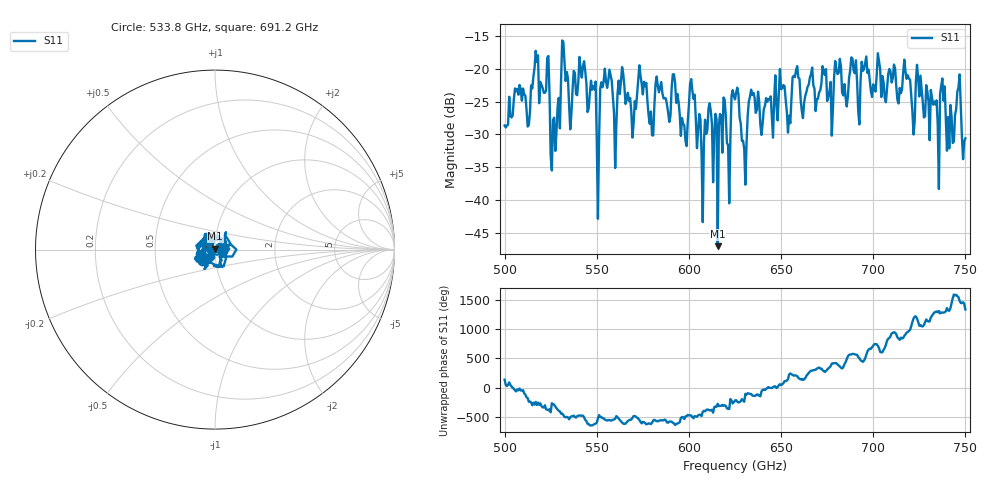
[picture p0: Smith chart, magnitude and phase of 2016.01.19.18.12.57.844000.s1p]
!Created with skrf (http://scikit-rf.org).
# GHz S RI R 50.0
!freq ReS11 ImS11
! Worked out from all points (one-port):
!   401 points, 500 GHz to 750 GHz, reference 50 ohm
!   lowest |S11| = -47.1 dB at 615.6 GHz (marker M1), VSWR 1.01, Z = 50.1 + j0.44 ohm
!   |S11| at or under -10 dB: start of sweep to end of sweep
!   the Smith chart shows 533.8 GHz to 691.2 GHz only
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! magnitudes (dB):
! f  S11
! 500 GHz  -28.6
! 513.1 GHz  -28.6
! 516.9 GHz  -17.3
! 523.1 GHz  -18.3
! 526.2 GHz  -27.8
! 531.2 GHz  -15.7
! 548.1 GHz  -22.6
! 550 GHz  -30.9
! 553.1 GHz  -22.8
! 560 GHz  -35.1
! 562.5 GHz  -23.8
! 570 GHz  -28.3
! 574.4 GHz  -22.3
! 579.4 GHz  -26.5
! 583.1 GHz  -22.6
! 593.8 GHz  -23.8
! 615.6 GHz  -47.1
! 618.8 GHz  -24.4
! 621.2 GHz  -31.6
! 625 GHz  -24.7
! 630 GHz  -32.2
! 633.8 GHz  -23.2
! 656.2 GHz  -21.3
! 687.5 GHz  -20.2
! 718.8 GHz  -21.0
! 742.5 GHz  -27.2
! 746.2 GHz  -22.9
! 750 GHz  -30.6
